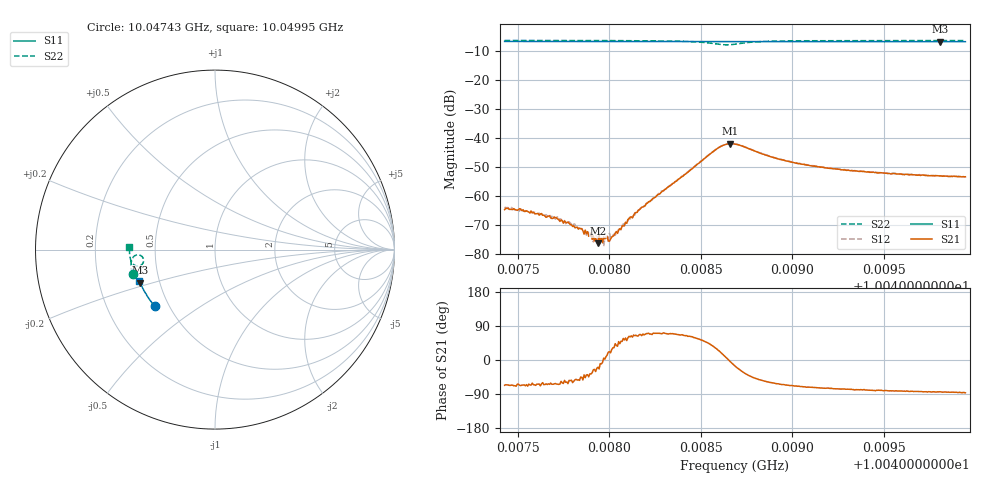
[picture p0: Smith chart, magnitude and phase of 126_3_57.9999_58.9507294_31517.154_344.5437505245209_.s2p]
#  HZ  S  RI  R  50.00
! Rohde & Schwarz Vector Network Analyzer
! Rohde-Schwarz,ZNB20-2Port,1311601062101988,3.16
! Created: UTC 3/21/2024, 12:55:56 AM
! freq[Hz]  re:S11  im:S11  re:S21  im:S21  re:S12  im:S12  re:S22  im:S22
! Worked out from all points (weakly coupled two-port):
!   401 points, 10.04743 GHz to 10.04995 GHz, reference 50 ohm
!   highest |S21| = -41.99 dB at 10.04866 GHz (marker M1); lowest = -76.4 dB at 10.04794 GHz (marker M2)
!   lowest |S11| = -6.8 dB at 10.04981 GHz (marker M3), VSWR 2.67, Z = 19.4 - j8.99 ohm
!   |S11| at or under -10 dB: nowhere
!   |S22| runs from -7.9 to -6.4 dB; largest |S21 - S12| = 0.00055
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1.0047427e10  -0.3342 -0.3163  0.000229 -0.000531  0.000311 -0.000562  -0.459 -0.1352
1.0047516e10  -0.3382 -0.3119  0.000222 -0.000541  0.000284 -0.000525  -0.4604 -0.129
1.0047604e10  -0.3421 -0.3074  0.00022 -0.000441  0.000251 -0.000455  -0.4618 -0.1227
1.0047711e10  -0.3464 -0.302  0.000186 -0.000373  0.00021 -0.000372  -0.4634 -0.1149
1.004778e10  -0.3493 -0.2984  0.0002 -0.000272  0.000213 -0.000286  -0.4643 -0.1098
1.0047849e10  -0.3523 -0.2946  0.000189 -0.000193  0.000209 -0.000174  -0.4652 -0.1046
1.0047906e10  -0.3546 -0.2917  0.000147 -9.86e-05  0.000179 -0.000127  -0.4658 -0.0999
1.0047937e10  -0.3558 -0.2901  0.000143 -4.9e-05  0.000185 -5.04e-05  -0.4661 -0.0975
1.0047956e10  -0.3566 -0.289  0.000183 -3.31e-05  0.00018 3.27e-06  -0.4663 -0.0959
1.0048007e10  -0.3586 -0.2863  0.000171 5.87e-05  0.000167 9.32e-05  -0.4667 -0.0918
1.0048026e10  -0.3595 -0.2854  0.000175 0.000113  0.000165 0.000143  -0.4669 -0.0901
1.0048151e10  -0.3643 -0.2786  0.000231 0.000462  0.000212 0.000504  -0.4672 -0.0785
1.0048271e10  -0.3689 -0.2721  0.000354 0.001  0.000291 0.00106  -0.4661 -0.0658
1.004858e10  -0.3797 -0.2549  0.00526 0.00325  0.00512 0.00359  -0.4176 -0.0312
1.0048624e10  -0.381 -0.2525  0.00726 0.00177  0.00719 0.00219  -0.401 -0.0464
1.0048661e10  -0.3823 -0.2506  0.00793 -0.000643  0.00797 -8.98e-05  -0.3983 -0.0677
1.0048687e10  -0.3831 -0.2494  0.0075 -0.00216  0.00769 -0.00168  -0.4045 -0.0801
1.004892e10  -0.3915 -0.2366  0.00199 -0.00385  0.00226 -0.0038  -0.4619 -0.0738
1.0049109e10  -0.3975 -0.2254  0.000997 -0.00311  0.0012 -0.00309  -0.4712 -0.0526
1.004953e10  -0.4101 -0.2004  0.000355 -0.00241  0.000555 -0.00241  -0.4762 -0.0171
1.0049807e10  -0.4171 -0.1835  0.000243 -0.0022  0.000312 -0.00217  -0.4765 0.00352
1.0049946e10  -0.4207 -0.1751  0.000128 -0.00213  0.000291 -0.0021  -0.4764 0.0131
